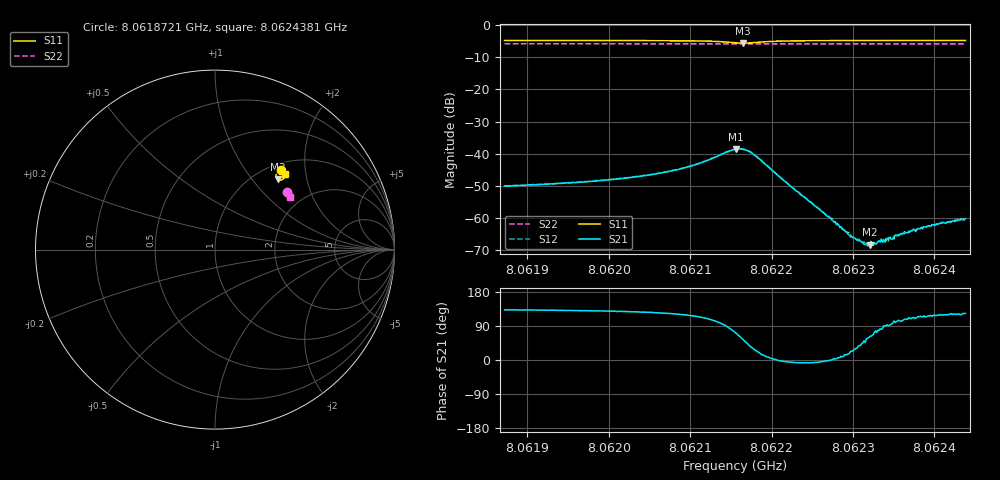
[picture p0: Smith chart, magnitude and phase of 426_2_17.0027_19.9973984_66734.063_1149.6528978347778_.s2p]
#  HZ  S  RI  R  50.00
! Rohde & Schwarz Vector Network Analyzer
! Rohde-Schwarz,ZNB20-2Port,1311601062101988,3.16
! Created: UTC 3/20/2024, 11:11:09 PM
! freq[Hz]  re:S11  im:S11  re:S21  im:S21  re:S12  im:S12  re:S22  im:S22
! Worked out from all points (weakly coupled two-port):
!   401 points, 8.0618721 GHz to 8.0624381 GHz, reference 50 ohm
!   highest |S21| = -38.48 dB at 8.0621565 GHz (marker M1); lowest = -68.3 dB at 8.0623206 GHz (marker M2)
!   lowest |S11| = -5.6 dB at 8.062165 GHz (marker M3), VSWR 3.21, Z = 62.6 + j67.8 ohm
!   |S11| at or under -10 dB: nowhere
!   |S22| runs from -5.9 to -5.8 dB; largest |S21 - S12| = 0.0008
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8.0618721e9  0.3689 0.4425  -0.00211 0.00233  -0.00199 0.00249  0.4001 0.3192
8.0619669e9  0.3757 0.4363  -0.00236 0.00279  -0.00216 0.00298  0.4037 0.3146
8.06201501e9  0.3794 0.4322  -0.00255 0.00325  -0.00234 0.00346  0.4056 0.3121
8.06206171e9  0.3838 0.4264  -0.00281 0.00409  -0.00261 0.00429  0.4073 0.3096
8.06210416e9  0.3876 0.4163  -0.00292 0.00597  -0.00259 0.00619  0.4088 0.3069
8.0621551e9  0.3649 0.387  0.00337 0.0111  0.00416 0.011  0.409 0.3034
8.06215651e9  0.3624 0.3871  0.00402 0.0112  0.00453 0.011  0.4091 0.3036
8.062165e9  0.3484 0.3925  0.00686 0.00943  0.00759 0.00919  0.4087 0.3036
8.06217208e9  0.3411 0.4026  0.0085 0.00694  0.00889 0.00648  0.4089 0.3038
8.06218057e9  0.34 0.416  0.00836 0.0039  0.00869 0.00344  0.4093 0.304
8.0622499e9  0.3717 0.4348  0.00167 -0.000205  0.00168 -0.00031  0.4133 0.301
8.06227254e9  0.3761 0.4331  0.000999 3.86e-06  0.000996 -6.79e-05  0.4141 0.3
8.06229942e9  0.3799 0.4312  0.000463 0.000196  0.000494 0.000128  0.4152 0.2984
8.06231216e9  0.3814 0.4302  0.000293 0.000296  0.000313 0.000279  0.4157 0.2977
8.06232065e9  0.3824 0.4298  0.000181 0.000341  0.000223 0.000319  0.416 0.2973
8.06232631e9  0.3828 0.4293  0.000124 0.000399  0.000132 0.000377  0.4162 0.297
8.06234046e9  0.3843 0.4283  -5.12e-06 0.00048  6.48e-05 0.000436  0.4167 0.2964
8.0623447e9  0.3847 0.4282  -9.2e-06 0.00049  -1.32e-05 0.000495  0.4168 0.296
8.06236168e9  0.3862 0.4269  -0.000154 0.000564  -0.000117 0.000571  0.4175 0.2951
8.06238715e9  0.3882 0.4255  -0.000332 0.000656  -0.000267 0.000669  0.4183 0.2937
8.06241121e9  0.3902 0.424  -0.000415 0.000758  -0.00036 0.000756  0.4192 0.2926
8.06243809e9  0.392 0.4225  -0.000531 0.000823  -0.000473 0.000829  0.4201 0.291
